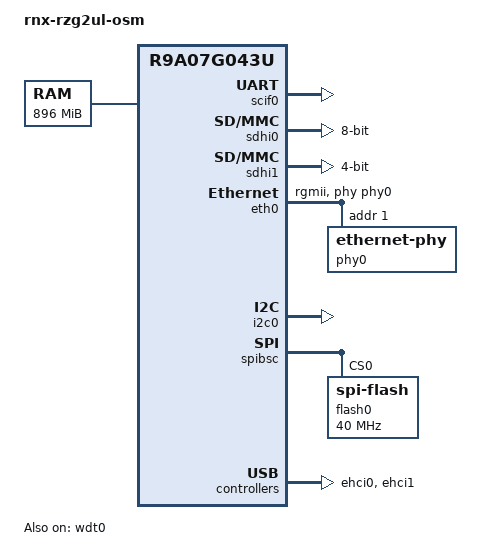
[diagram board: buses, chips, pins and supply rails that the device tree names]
// SPDX-License-Identifier: GPL-2.0
/*
 * Device Tree Source for the GR-Peach board
 *
 * Copyright (C) 2017 Jacopo Mondi <jacopo+renesas@jmondi.org>
 * Copyright (C) 2016 Renesas Electronics
 */

/dts-v1/;
#include <dt-bindings/gpio/gpio.h>
#include "r9a07g043u11.dtsi"
#include "r9a07g043u11-u-boot.dtsi"
#include <dt-bindings/pinctrl/rzg2l-pinctrl.h>

/ {
	model = "rnx-rzg2ul-osm";
	compatible = "renesas,r9a07g043u", "renesas,rzg2ul";

	aliases {
		serial0 = &scif0;
		spi0 = &spibsc;
	};

	chosen {
		stdout-path = "serial0:115200n8";
	};

	memory@48000000 {
		device_type = "memory";
		/* first 128MB is reserved for secure area. */
		reg = <0 0x48000000 0 0x38000000>;
	};
};

&pinctrl {
	eth0_pins: eth0 {
		pinmux = <RZG2L_PINMUX(1, 0, 1)>,	/* ET0_TX_CLK */
				<RZG2L_PINMUX(1, 1, 1)>,	/* ET0_TX_EN */
				<RZG2L_PINMUX(1, 2, 1)>,	/* ET0_TXD0 */
				<RZG2L_PINMUX(1, 3, 1)>,	/* ET0_TXD1 */
				<RZG2L_PINMUX(1, 4, 1)>,	/* ET0_TXD2 */
				<RZG2L_PINMUX(2, 0, 1)>,	/* ET0_TXD3 */
				<RZG2L_PINMUX(3, 0, 1)>,	/* ET0_TRX_CLK */
				<RZG2L_PINMUX(3, 1, 1)>,	/* ET0_TRX_DV */
				<RZG2L_PINMUX(3, 2, 1)>,	/* ET0_TRX_RXD0 */
				<RZG2L_PINMUX(3, 3, 1)>,	/* ET0_TRX_RXD1 */
				<RZG2L_PINMUX(4, 0, 1)>,	/* ET0_TRX_RXD2 */
				<RZG2L_PINMUX(4, 1, 1)>,	/* ET0_TRX_RXD3 */	
				<RZG2L_PINMUX(4, 3, 1)>,	/* ET0_MDC */
				<RZG2L_PINMUX(4, 4, 1)>,	/* ET0_MDIO */
				<RZG2L_PINMUX(4, 5, 1)>;	/* ET0_LINKSTA */
	};
};

&xinclk {
        clock-frequency = <24000000>;
};

&scif0 {
	status = "okay";
	clock = <100000000>;
};

&sdhi0 {
	bus-width = <8>;
	status = "okay";
};

&sdhi1 {
	/* pinctrl placeholder
	 * A power enable pin (SD1_PWR_EN) must be defined to interface with a
	 * SD card.
	 * The SD1_PWR_EN pin is associated with P0_3.
	 * A HIGH signal on SD1_PWR_EN will enable supply voltage for SD card.
	*/
	bus-width = <4>;
	status = "okay";
};

&eth0 {
	pinctrl-names = "default";
	pinctrl-0 = <&eth0_pins>;
	phy-handle = <&phy0>;
	phy-mode = "rgmii";
	status = "okay";

	phy0: ethernet-phy@1 {
		reg = <1>;
	};
};

&i2c0 {
	status = "okay";
};

&spibsc {
        num-cs = <1>;
        status = "okay";
        spi-max-frequency = <40000000>;
        #address-cells = <1>;
        #size-cells = <0>;
        flash0: spi-flash@0 {
                #address-cells = <1>;
                #size-cells = <1>;
                compatible = "spi-flash", "jedec,spi-nor";
                spi-max-frequency = <40000000>;
                spi-tx-bus-width = <1>;
                spi-rx-bus-width = <1>;
                reg = <0>;
                status = "okay";
        };
};

&ehci0 {
	status = "okay";
};

&ehci1 {
	status = "okay";
};

&wdt0 {
	status = "okay";
	timeout-sec = <60>;
};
